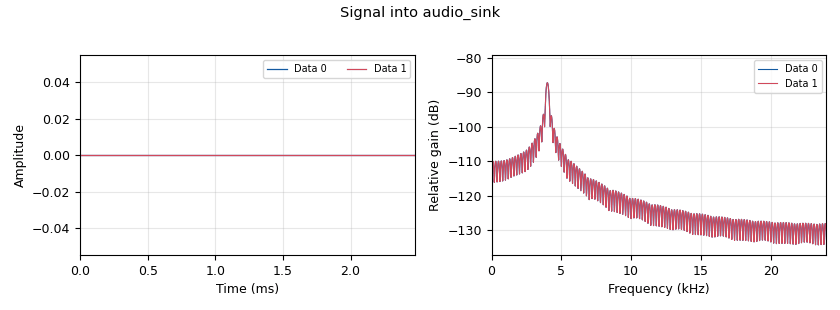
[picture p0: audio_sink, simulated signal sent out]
<?xml version='1.0' encoding='utf-8'?>
<?grc format='1' created='3.7.13'?>
<flow_graph>
<block>
<key>options</key>
<param><key>id</key><value>top_block</value></param>
<param><key>generate_options</key><value>qt_gui</value></param>
</block>
<block>
<key>variable</key>
<param><key>id</key><value>amp</value></param>
<param><key>value</key><value>1</value></param>
</block>
<block>
<key>variable</key>
<param><key>id</key><value>freq</value></param>
<param><key>value</key><value>4000</value></param>
</block>
<block>
<key>variable</key>
<param><key>id</key><value>samp_rate</value></param>
<param><key>value</key><value>48000</value></param>
</block>
<block>
<key>variable_qtgui_chooser</key>
<param><key>id</key><value>variable_qtgui_chooser_0</value></param>
<param><key>value</key><value>0</value></param>
<param><key>num_opts</key><value>3</value></param>
<param><key>option0</key><value>0</value></param>
<param><key>option1</key><value>1</value></param>
<param><key>option2</key><value>2</value></param>
<param><key>type</key><value>int</value></param>
</block>
<block>
<key>analog_sig_source_x</key>
<param><key>id</key><value>analog_sig_source_x_0</value></param>
<param><key>amp</key><value>amp</value></param>
<param><key>freq</key><value>freq</value></param>
<param><key>offset</key><value>0</value></param>
<param><key>type</key><value>float</value></param>
<param><key>samp_rate</key><value>samp_rate</value></param>
<param><key>waveform</key><value>analog.GR_SIN_WAVE</value></param>
</block>
<block>
<key>audio_sink</key>
<param><key>id</key><value>audio_sink</value></param>
<param><key>device_name</key><value>hw:2,0</value></param>
<param><key>num_inputs</key><value>2</value></param>
<param><key>samp_rate</key><value>samp_rate</value></param>
</block>
<block>
<key>audio_source</key>
<param><key>id</key><value>audio_source_0</value></param>
<param><key>device_name</key><value>hw:2,0</value></param>
<param><key>samp_rate</key><value>samp_rate</value></param>
</block>
<block>
<key>blocks_float_to_complex</key>
<param><key>id</key><value>blocks_float_to_complex_0</value></param>
</block>
<block>
<key>blocks_float_to_complex</key>
<param><key>id</key><value>blocks_float_to_complex_0_0</value></param>
</block>
<block>
<key>blocks_multiply_const_xx</key>
<param><key>id</key><value>blocks_multiply_const_xx_0</value></param>
<param><key>const</key><value>5</value></param>
<param><key>type</key><value>float</value></param>
</block>
<block>
<key>blocks_multiply_xx</key>
<param><key>id</key><value>blocks_multiply_xx_0</value></param>
<param><key>type</key><value>float</value></param>
</block>
<block>
<key>blocks_vector_source_x</key>
<param><key>id</key><value>blocks_vector_source_x_0</value></param>
<param><key>type</key><value>float</value></param>
<param><key>repeat</key><value>True</value></param>
<param><key>vector</key><value>int(samp_rate*0.1)*[0.] + int(samp_rate*0.005)*[1.]</value></param>
</block>
<block>
<key>qtgui_time_sink_x</key>
<param><key>id</key><value>qtgui_time_sink_x_0_1</value></param>
<param><key>color1</key><value>"blue"</value></param>
<param><key>label1</key><value></value></param>
<param><key>color2</key><value>"red"</value></param>
<param><key>label2</key><value></value></param>
<param><key>color3</key><value>"green"</value></param>
<param><key>label3</key><value></value></param>
<param><key>color4</key><value>"black"</value></param>
<param><key>label4</key><value></value></param>
<param><key>nconnections</key><value>2</value></param>
<param><key>size</key><value>4096</value></param>
<param><key>srate</key><value>samp_rate</value></param>
<param><key>tr_level</key><value>0.2</value></param>
<param><key>tr_mode</key><value>qtgui.TRIG_MODE_NORM</value></param>
<param><key>type</key><value>complex</value></param>
<param><key>update_time</key><value>0.05</value></param>
</block>
<connection><source_block_id>analog_sig_source_x_0</source_block_id><sink_block_id>blocks_multiply_xx_0</sink_block_id><source_key>0</source_key><sink_key>0</sink_key></connection>
<connection><source_block_id>audio_source_0</source_block_id><sink_block_id>blocks_multiply_const_xx_0</sink_block_id><source_key>0</source_key><sink_key>0</sink_key></connection>
<connection><source_block_id>blocks_float_to_complex_0</source_block_id><sink_block_id>qtgui_time_sink_x_0_1</sink_block_id><source_key>0</source_key><sink_key>1</sink_key></connection>
<connection><source_block_id>blocks_float_to_complex_0_0</source_block_id><sink_block_id>qtgui_time_sink_x_0_1</sink_block_id><source_key>0</source_key><sink_key>0</sink_key></connection>
<connection><source_block_id>blocks_multiply_const_xx_0</source_block_id><sink_block_id>blocks_float_to_complex_0</sink_block_id><source_key>0</source_key><sink_key>0</sink_key></connection>
<connection><source_block_id>blocks_multiply_xx_0</source_block_id><sink_block_id>audio_sink</sink_block_id><source_key>0</source_key><sink_key>0</sink_key></connection>
<connection><source_block_id>blocks_multiply_xx_0</source_block_id><sink_block_id>audio_sink</sink_block_id><source_key>0</source_key><sink_key>1</sink_key></connection>
<connection><source_block_id>blocks_multiply_xx_0</source_block_id><sink_block_id>blocks_float_to_complex_0_0</sink_block_id><source_key>0</source_key><sink_key>1</sink_key></connection>
<connection><source_block_id>blocks_vector_source_x_0</source_block_id><sink_block_id>blocks_float_to_complex_0_0</sink_block_id><source_key>0</source_key><sink_key>0</sink_key></connection>
<connection><source_block_id>blocks_vector_source_x_0</source_block_id><sink_block_id>blocks_multiply_xx_0</sink_block_id><source_key>0</source_key><sink_key>1</sink_key></connection>
</flow_graph>
